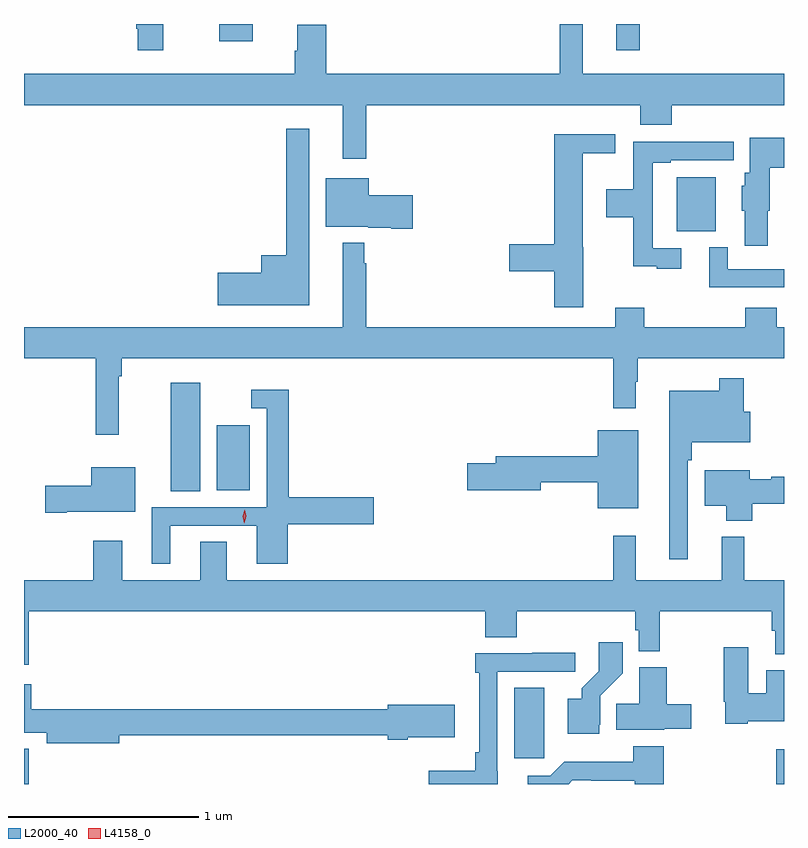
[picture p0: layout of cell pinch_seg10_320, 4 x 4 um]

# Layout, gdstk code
import gdstk
lib = gdstk.Library(unit=1e-6, precision=1e-09)
def R(c, l, rs):  # rectangles x0, y0, x1, y1
    for r in rs: c.add(gdstk.rectangle(r[:2], r[2:], *l))
def P(c, l, *ps):  # polygons
    for p in ps: c.add(gdstk.Polygon(p, *l))
L2000_40 = (2000, 40)
L4158_0 = (4158, 0)

pinch_seg10_320 = lib.new_cell('pinch_seg10_320')
R(pinch_seg10_320, L2000_40, [(399.433,1284.755,399.457,1284.94), (403.392,1284.755,403.433,1284.937), (402.014,1284.891,402.172,1285.261), (400.205,1286.296,400.36,1286.866), (400.448,1286.3,400.621,1286.644), (402.869,1287.665,403.075,1287.949), (402.551,1288.617,402.673,1288.755), (400.46,1288.664,400.636,1288.755)])
P(pinch_seg10_320, L2000_40, [(401.233,1288.328),(402.677,1288.328),(402.677,1288.226),(402.842,1288.226),(402.842,1288.328),(403.433,1288.328),(403.433,1288.492),(402.373,1288.492),(402.373,1288.755),(402.252,1288.755),(402.252,1288.492),(401.024,1288.492),(401.024,1288.75),(400.871,1288.75),(400.871,1288.613),(400.859,1288.613),(400.859,1288.492),(399.433,1288.492),(399.433,1288.328),(401.111,1288.328),(401.111,1288.047),(401.233,1288.047)],
  [(400.167,1288.755),(400.024,1288.755),(400.024,1288.729),(400.032,1288.729),(400.032,1288.617),(400.167,1288.617)],
  [(400.933,1288.204),(400.812,1288.204),(400.812,1287.538),(400.682,1287.538),(400.682,1287.446),(400.452,1287.446),(400.452,1287.275),(400.933,1287.275)],
  [(402.376,1287.579),(402.373,1287.579),(402.373,1288.076),(402.544,1288.076),(402.544,1288.174),(402.224,1288.174),(402.224,1287.596),(401.988,1287.596),(401.988,1287.454),(402.224,1287.454),(402.224,1287.264),(402.376,1287.264)],
  [(403.348,1287.771),(403.357,1287.771),(403.357,1287.998),(403.433,1287.998),(403.433,1288.156),(403.253,1288.156),(403.253,1287.972),(403.226,1287.972),(403.226,1287.903),(403.211,1287.903),(403.211,1287.771),(403.226,1287.771),(403.226,1287.588),(403.348,1287.588)],
  [(402.892,1287.576),(402.741,1287.576),(402.741,1288.026),(402.838,1288.026),(402.838,1288.038),(403.168,1288.038),(403.168,1288.136),(402.925,1288.136),(402.925,1288.134),(402.64,1288.134),(402.64,1287.886),(402.498,1287.886),(402.498,1287.739),(402.64,1287.739),(402.64,1287.479),(402.764,1287.479),(402.764,1287.468),(402.892,1287.468)],
  [(401.479,1287.855),(401.248,1287.855),(401.248,1287.943),(401.021,1287.943),(401.021,1287.689),(401.244,1287.689),(401.244,1287.683),(401.366,1287.683),(401.366,1287.677),(401.479,1287.677)],
  [(399.932,1286.9),(399.947,1286.9),(399.947,1286.996),(402.535,1286.996),(402.535,1286.733),(402.652,1286.733),(402.652,1286.873),(402.664,1286.873),(402.664,1286.996),(403.433,1286.996),(403.433,1287.16),(403.394,1287.16),(403.394,1287.262),(403.229,1287.262),(403.229,1287.16),(402.698,1287.16),(402.698,1287.262),(402.545,1287.262),(402.545,1287.16),(401.233,1287.16),(401.233,1287.497),(401.225,1287.497),(401.225,1287.604),(401.111,1287.604),(401.111,1287.16),(399.433,1287.16),(399.433,1286.996),(399.811,1286.996),(399.811,1286.592),(399.932,1286.592)],
  [(403.433,1287.465),(403.137,1287.465),(403.137,1287.58),(403.04,1287.58),(403.04,1287.369),(403.433,1287.369)],
  [(402.927,1286.459),(402.947,1286.459),(402.947,1286.555),(403.255,1286.555),(403.255,1286.713),(403.22,1286.713),(403.22,1286.89),(403.092,1286.89),(403.092,1286.824),(402.83,1286.824),(402.83,1285.938),(402.927,1285.938)],
  [(400.204,1286.115),(400.658,1286.115),(400.658,1285.914),(400.82,1285.914),(400.82,1286.122),(401.275,1286.122),(401.275,1286.264),(400.826,1286.264),(400.826,1286.83),(400.629,1286.83),(400.629,1286.733),(400.71,1286.733),(400.71,1286.211),(400.106,1286.211),(400.106,1285.914),(400.204,1285.914)],
  [(402.667,1286.617),(402.452,1286.617),(402.452,1286.48),(401.915,1286.48),(401.915,1286.444),(401.766,1286.444),(401.766,1286.302),(402.154,1286.302),(402.154,1286.344),(402.452,1286.344),(402.452,1286.207),(402.667,1286.207)],
  [(399.658,1286.189),(400.018,1286.189),(400.018,1286.422),(399.788,1286.422),(399.788,1286.324),(399.546,1286.324),(399.546,1286.182),(399.658,1286.182)],
  [(403.265,1286.23),(403.433,1286.23),(403.433,1286.372),(403.365,1286.372),(403.365,1286.359),(403.252,1286.359),(403.252,1286.407),(403.016,1286.407),(403.016,1286.219),(403.13,1286.219),(403.13,1286.141),(403.265,1286.141)],
  [(401.861,1285.528),(402.026,1285.528),(402.026,1285.664),(402.649,1285.664),(402.649,1285.563),(402.669,1285.563),(402.669,1285.454),(402.778,1285.454),(402.778,1285.664),(403.369,1285.664),(403.369,1285.561),(403.388,1285.561),(403.388,1285.439),(403.433,1285.439),(403.433,1285.828),(403.223,1285.828),(403.223,1286.056),(403.106,1286.056),(403.106,1285.828),(402.653,1285.828),(402.653,1286.062),(402.535,1286.062),(402.535,1285.828),(400.501,1285.828),(400.501,1286.03),(400.361,1286.03),(400.361,1285.828),(399.949,1285.828),(399.949,1286.035),(399.797,1286.035),(399.797,1285.828),(399.433,1285.828),(399.433,1285.383),(399.457,1285.383),(399.457,1285.664),(401.861,1285.664)],
  [(402.46,1285.068),(402.465,1285.068),(402.465,1285.219),(402.584,1285.338),(402.584,1285.501),(402.459,1285.501),(402.459,1285.349),(402.368,1285.259),(402.368,1285.204),(402.296,1285.204),(402.296,1285.019),(402.46,1285.019)],
  [(403.242,1285.085),(403.433,1285.085),(403.433,1285.354),(403.34,1285.354),(403.34,1285.233),(403.246,1285.233),(403.246,1285.474),(403.117,1285.474),(403.117,1285.189),(403.124,1285.189),(403.124,1285.073),(403.242,1285.073)],
  [(401.926,1284.822),(401.925,1284.822),(401.925,1285.347),(402.334,1285.347),(402.334,1285.446),(402.109,1285.446),(402.109,1285.443),(401.809,1285.443),(401.809,1285.34),(401.829,1285.34),(401.829,1284.922),(401.809,1284.922),(401.809,1284.826),(401.562,1284.826),(401.562,1284.755),(401.926,1284.755)],
  [(402.804,1285.046),(402.946,1285.046),(402.946,1285.176),(402.816,1285.176),(402.816,1285.369),(402.671,1285.369),(402.671,1285.178),(402.55,1285.178),(402.55,1285.04),(402.804,1285.04)],
  [(399.934,1285.012),(401.348,1285.012),(401.348,1284.989),(401.452,1284.989),(401.452,1285.001),(401.701,1285.001),(401.701,1285.172),(401.348,1285.172),(401.348,1285.148),(399.472,1285.148),(399.472,1285.279),(399.433,1285.279),(399.433,1285.025),(399.554,1285.025),(399.554,1284.97),(399.934,1284.97)],
  [(402.318,1284.774),(402.418,1284.774),(402.418,1284.771),(402.647,1284.771),(402.647,1284.755),(402.8,1284.755),(402.8,1284.955),(402.64,1284.955),(402.64,1284.871),(402.277,1284.871),(402.204,1284.798),(402.084,1284.798),(402.084,1284.755),(402.299,1284.755)])
P(pinch_seg10_320, L4158_0, [(400.591,1286.127),(400.591,1286.128),(400.583,1286.163),(400.594,1286.199),(400.594,1286.199),(400.594,1286.199),(400.602,1286.163),(400.591,1286.128)])

lib.write_gds('pinch_seg10_320.gds')
